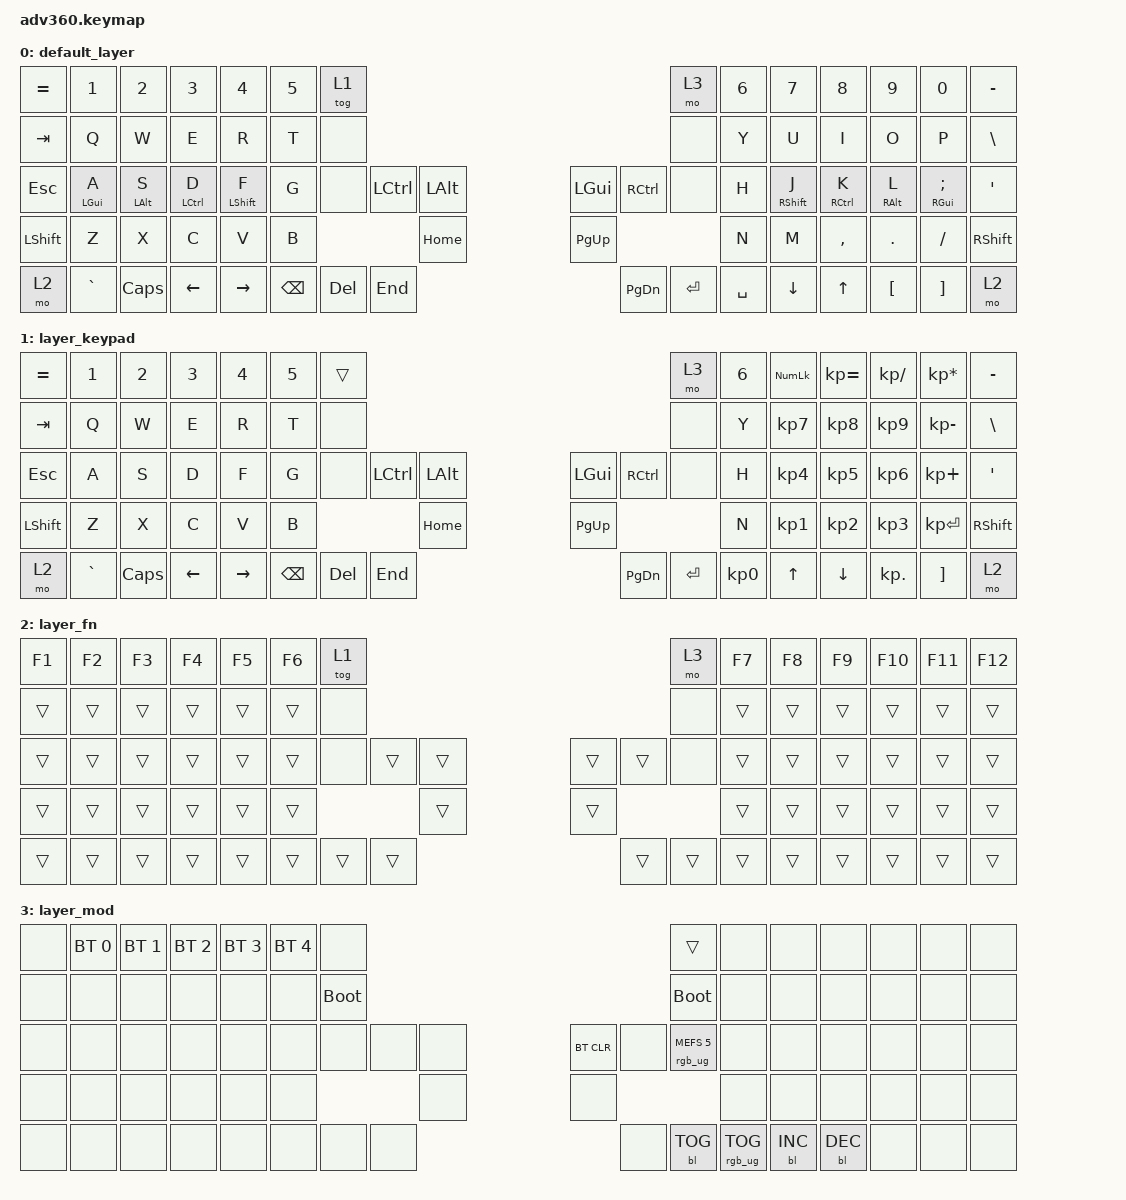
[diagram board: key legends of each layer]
#include <behaviors.dtsi>
#include <dt-bindings/zmk/keys.h>
#include <dt-bindings/zmk/bt.h>
#include <dt-bindings/zmk/rgb.h>
#include <dt-bindings/zmk/backlight.h>

/ {
  behaviors {
    #include "macros.dtsi"

    hm: homerow_mods {
        compatible = "zmk,behavior-hold-tap";
        label = "HOMEROW_MODS";
        #binding-cells = <2>;
        tapping-term-ms = <280>;
        quick_tap_ms = <175>;
        require-prior-idle-ms = <150>;
        flavor = "tap-preferred";
        bindings = <&kp>, <&kp>;
        hold-trigger-on-release;
    };
  };

  // Home row mods

  // Left hand
  #define _A_GUI &hm LGUI A   // GUI on pinky
  #define _S_ALT &hm LALT S   // Alt on ring finger
  #define _D_CTL &hm LCTRL D  // Control on middle finger
  #define _F_SFT &hm LSHIFT F // Shift on index finger
  // Right hand
  #define _J_SFT &hm RSHIFT J   // Shift on index finger
  #define _K_CTL &hm RCTRL K    // Control on middle finger
  #define _L_ALT &hm RALT L     // Alt on ring finger
  #define _SC_GUI &hm RGUI SEMI // GUI on pinky

    keymap {
        compatible = "zmk,keymap";


        default_layer {
            bindings = <
 &kp EQUAL     &kp N1    &kp N2    &kp N3        &kp N4  &kp N5              &tog 1                                                                 &mo 3        &kp N6    &kp N7     &kp N8    &kp N9    &kp N0  &kp MINUS
   &kp TAB      &kp Q     &kp W     &kp E         &kp R   &kp T               &none                                                                 &none         &kp Y     &kp U      &kp I     &kp O     &kp P   &kp BSLH
   &kp ESC     _A_GUI    _S_ALT    _D_CTL        _F_SFT   &kp G               &none  &kp LCTRL  &kp LALT                   &kp LGUI  &kp RCTRL      &none         &kp H    _J_SFT     _K_CTL    _L_ALT   _SC_GUI    &kp SQT
 &kp LSHFT      &kp Z     &kp X     &kp C         &kp V   &kp B                                 &kp HOME                  &kp PG_UP                               &kp N     &kp M  &kp COMMA   &kp DOT  &kp FSLH  &kp RSHFT
     &mo 2  &kp GRAVE  &kp CAPS  &kp LEFT     &kp RIGHT                    &kp BSPC    &kp DEL   &kp END                  &kp PG_DN  &kp ENTER  &kp SPACE                &kp DOWN     &kp UP  &kp LBKT  &kp RBKT      &mo 2
            >;
        };

        layer_keypad {
            bindings = <
 &kp EQUAL     &kp N1    &kp N2    &kp N3     &kp N4  &kp N5              &trans                                                                 &mo 3  &kp N6  &kp KP_NUM  &kp KP_EQUAL  &kp KP_DIVIDE  &kp KP_MULTIPLY  &kp MINUS
   &kp TAB      &kp Q     &kp W     &kp E      &kp R   &kp T               &none                                                                 &none   &kp Y   &kp KP_N7     &kp KP_N8      &kp KP_N9     &kp KP_MINUS   &kp BSLH
   &kp ESC      &kp A     &kp S     &kp D      &kp F   &kp G               &none  &kp LCTRL  &kp LALT                   &kp LGUI  &kp RCTRL      &none   &kp H   &kp KP_N4     &kp KP_N5      &kp KP_N6      &kp KP_PLUS    &kp SQT
 &kp LSHFT      &kp Z     &kp X     &kp C      &kp V   &kp B                                 &kp HOME                  &kp PG_UP                         &kp N   &kp KP_N1     &kp KP_N2      &kp KP_N3     &kp KP_ENTER  &kp RSHFT
     &mo 2  &kp GRAVE  &kp CAPS  &kp LEFT  &kp RIGHT                    &kp BSPC    &kp DEL   &kp END                  &kp PG_DN  &kp ENTER  &kp KP_N0              &kp UP      &kp DOWN     &kp KP_DOT         &kp RBKT      &mo 2
            >;
        };

        layer_fn {
            bindings = <
 &kp F1  &kp F2  &kp F3  &kp F4  &kp F5  &kp F6            &tog 1                                                   &mo 3  &kp F7  &kp F8  &kp F9  &kp F10  &kp F11  &kp F12
 &trans  &trans  &trans  &trans  &trans  &trans             &none                                                   &none  &trans  &trans  &trans   &trans   &trans   &trans
 &trans  &trans  &trans  &trans  &trans  &trans             &none  &trans  &trans                  &trans  &trans   &none  &trans  &trans  &trans   &trans   &trans   &trans
 &trans  &trans  &trans  &trans  &trans  &trans                            &trans                  &trans                  &trans  &trans  &trans   &trans   &trans   &trans
 &trans  &trans  &trans  &trans  &trans                    &trans  &trans  &trans                  &trans  &trans  &trans          &trans  &trans   &trans   &trans   &trans
            >;
        };

        layer_mod {
            bindings = <
  &none  &bt BT_SEL 0  &bt BT_SEL 1  &bt BT_SEL 2  &bt BT_SEL 3  &bt BT_SEL 4                  &none                                                                          &trans   &none       &none       &none   &none   &none   &none
  &none         &none         &none         &none         &none         &none            &bootloader                                                                     &bootloader   &none       &none       &none   &none   &none   &none
  &none         &none         &none         &none         &none         &none                  &none   &none   &none                  &bt BT_CLR       &none  &rgb_ug RGB_MEFS_CMD 5   &none       &none       &none   &none   &none   &none
  &none         &none         &none         &none         &none         &none                                  &none                       &none                                       &none       &none       &none   &none   &none   &none
  &none         &none         &none         &none         &none                                &none   &none   &none                       &none  &bl BL_TOG         &rgb_ug RGB_TOG          &bl BL_INC  &bl BL_DEC   &none   &none   &none
            >;
        };

    };
};
